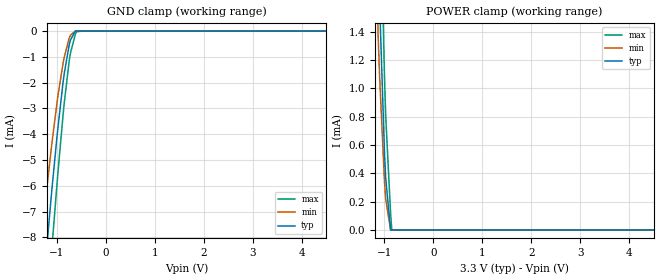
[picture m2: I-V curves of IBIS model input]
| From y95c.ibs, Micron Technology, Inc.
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|   MODEL INPUT
[Model]   input
|Model used for all inputs except CLK, WE#, DQM, CS#, and CKE
Model_type   Input
Vinl = 800.000mV
Vinh = 2.000V
|   typ   min   max
C_comp   1.950pF   1.450pF   2.530pF
[Voltage Range]   3.300V   3.000V   3.600V
[Temperature Range]   25.0   85.0   0.0
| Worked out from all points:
|   GND clamp passes 1 mA (typ) near -0.79 V on its own axis
|   POWER clamp passes 1 mA (typ) near -1.04 V on its own axis
[GND Clamp]
|   Voltage   I(typ)   I(min)   I(max)
-3.3V     -300.9mA   -296.9mA   -309mA
-1.35V    -11.65mA   -9.937mA   -14.81mA
-1.25V    -9.299mA   -6.976mA   -12.14mA
-1.225V   -8.734mA   -6.393mA   -11.49mA
-1.125V   -6.574mA   -4.69mA    -8.931mA
-1.1V     -6.058mA   -4.288mA   -8.314mA
-1V       -4.094mA   -2.78mA    -5.93mA
-975mV    -3.64mA    -2.441mA   -5.365mA
-850mV    -1.627mA   -995uA     -2.763mA
-725mV    -344.8uA   -157.6uA   -850.5uA
-625mV    0A         0A         -122.1uA
6.6V      0A         0A         0A
[POWER Clamp]
|   Voltage   I(typ)   I(min)   I(max)
-3.3V     55.98mA    46.25mA    64.18mA
-1.225V   3.511mA    2.503mA    5.027mA
-1.125V   1.934mA    1.324mA    3.027mA
-1.1V     1.604mA    1.084mA    2.589mA
-1V       543uA      338.9uA    1.08mA
-975mV    365.1uA    216.1uA    805.5uA
-875mV    0A         0A         115uA
6.6V      0A         0A         0A
